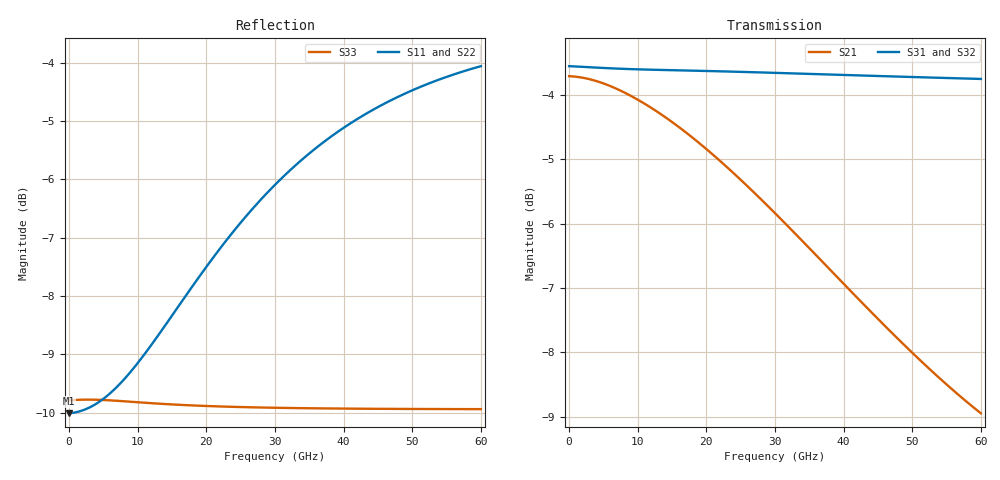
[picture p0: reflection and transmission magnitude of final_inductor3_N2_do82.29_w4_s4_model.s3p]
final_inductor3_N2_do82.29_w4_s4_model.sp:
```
* WIDEBAND RFIC CENTER-TAPPED INDUCTOR MODEL WITH SUBSTRATE NETWORK
* Created using inductor_fit.py 1.2 from final_inductor3_N2_do82.29_w4_s4.s3p
* Fit band 0.010 to 60.000 GHz, 2 coil segment(s) per half coil
* k is the effective coupling including the center tap lead inductance
* Total element values:
*   Rs_h1 = 0.720612
*   Ls_h1 = 1.50842e-10
*   Rskin1_h1 = 0.758223
*   Lskin1_h1 = 1.10383e-11
*   Rskin2_h1 = 7.63857
*   Lskin2_h1 = 1.07664e-11
*   Rs_h2 = 0.998512
*   Ls_h2 = 1.50842e-10
*   Rskin1_h2 = 1.13045
*   Lskin1_h2 = 1.10383e-11
*   Rskin2_h2 = 11.4561
*   Lskin2_h2 = 1.07664e-11
*   k = 0.414297
*   Cs = 4.84023e-15
*   Rct = 0.0957629
*   Cox1 = 6.47696e-15
*   Rsi1 = 526.49
*   Csi1 = 5.58014e-14
*   Cox2 = 7.1815e-15
*   Rsi2 = 561.325
*   Csi2 = 5.38498e-14
*   Coxct = 1.90625e-14
*   Rsict = 8355.23
*   Csict = 2.91883e-15
*
.SUBCKT ct_inductor_model p1 p2 ct
* half coil 1, segment 1
Rs_h1_1 p1 a_h1_1 0.360306
Ls_h1_1 a_h1_1 b_h1_1 7.5421e-11
Rskin1_h1_1 b_h1_1 d_h1_1 0.379111
Lskin1_h1_1 b_h1_1 d_h1_1 5.51915e-12
Rskin2_h1_1 d_h1_1 c1 3.81928
Lskin2_h1_1 d_h1_1 c1 5.38322e-12
* half coil 1, segment 2
Rs_h1_2 c1 a_h1_2 0.360306
Ls_h1_2 a_h1_2 b_h1_2 7.5421e-11
Rskin1_h1_2 b_h1_2 d_h1_2 0.379111
Lskin1_h1_2 b_h1_2 d_h1_2 5.51915e-12
Rskin2_h1_2 d_h1_2 m 3.81928
Lskin2_h1_2 d_h1_2 m 5.38322e-12
* half coil 2, segment 1
Rs_h2_1 m a_h2_1 0.499256
Ls_h2_1 a_h2_1 b_h2_1 7.5421e-11
Rskin1_h2_1 b_h2_1 d_h2_1 0.565224
Lskin1_h2_1 b_h2_1 d_h2_1 5.51915e-12
Rskin2_h2_1 d_h2_1 c3 5.72805
Lskin2_h2_1 d_h2_1 c3 5.38322e-12
* half coil 2, segment 2
Rs_h2_2 c3 a_h2_2 0.499256
Ls_h2_2 a_h2_2 b_h2_2 7.5421e-11
Rskin1_h2_2 b_h2_2 d_h2_2 0.565224
Lskin1_h2_2 b_h2_2 d_h2_2 5.51915e-12
Rskin2_h2_2 d_h2_2 p2 5.72805
Lskin2_h2_2 d_h2_2 p2 5.38322e-12
* magnetic coupling of the half coils (dot at the first node, aiding for differential current)
K_h1_1_h2_1 Ls_h1_1 Ls_h2_1 0.207148
K_h1_1_h2_2 Ls_h1_1 Ls_h2_2 0.207148
K_h1_2_h2_1 Ls_h1_2 Ls_h2_1 0.207148
K_h1_2_h2_2 Ls_h1_2 Ls_h2_2 0.207148
Cs p1 p2 4.84023e-15
Rct m ct 0.0957629
* substrate network at p1
Cox_n0 p1 s0 3.23848e-15
Rsi_n0 s0 0 1052.98
Csi_n0 s0 0 2.79007e-14
* substrate network at c1
Cox_n1 c1 s1 8.00411e-15
Rsi_n1 s1 0 1020.82
Csi_n1 s1 0 2.86304e-14
* substrate network at m
Cox_n2 m s2 9.53127e-15
Rsi_n2 s2 0 16710.5
Csi_n2 s2 0 1.45942e-15
* substrate network at c3
Cox_n3 c3 s3 8.35638e-15
Rsi_n3 s3 0 1086.16
Csi_n3 s3 0 2.76546e-14
* substrate network at p2
Cox_n4 p2 s4 3.59075e-15
Rsi_n4 s4 0 1122.65
Csi_n4 s4 0 2.69249e-14
.ENDS
```
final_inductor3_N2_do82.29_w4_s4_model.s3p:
!Center-tapped inductor model fitted by inductor_fit.py 1.2 from final_inductor3_N2_do82.29_w4_s4.s3p
! Created with skrf 2.1.0 (http://scikit-rf.org).
# GHz S RI R 50.0
!freq ReS11 ImS11 ReS12 ImS12 ReS13 ImS13
! ReS21 ImS21 ReS22 ImS22 ReS23 ImS23
! ReS31 ImS31 ReS32 ImS32 ReS33 ImS33
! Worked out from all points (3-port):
!   82 points, 10 MHz to 60 GHz, reference 50 ohm
!   strongest paths, dB at 10 MHz, 14.25 GHz, 30 GHz, 45 GHz, 60 GHz:
!     S31: -3.6, -3.6, -3.7, -3.7, -3.8
!     S32: -3.6, -3.7, -3.7, -3.7, -3.8
!     S21: -3.7, -4.4, -5.8, -7.5, -8.9
!   lowest |S11| = -10.0 dB at 10 MHz (marker M1), VSWR 1.92, Z = 26 + j0.0161 ohm
!   |S11| at or under -10 dB: start of sweep to 557.7 MHz
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0.01  -0.3159 0.000279  0.6521 -0.000293  0.6638 -5.38e-05
      0.6521 -0.000293  -0.3123 0.000277  0.6602 -5.26e-05
      0.6638 -5.38e-05  0.6602 -5.26e-05  -0.3241 3.77e-05
13.5  -0.1778 0.3268  0.5135 -0.3268  0.6569 -0.0571
      0.5135 -0.3268  -0.1735 0.3273  0.6535 -0.0582
      0.6569 -0.0571  0.6535 -0.0582  -0.3167 0.0575
25.5  0.0589 0.4601  0.2794 -0.4607  0.6486 -0.1049
      0.2794 -0.4607  0.0652 0.4583  0.6446 -0.1056
      0.6486 -0.1049  0.6446 -0.1056  -0.3029 0.1027
39.75  0.3251 0.4479  0.0181 -0.4511  0.6338 -0.1595
       0.0181 -0.4511  0.3316 0.4431  0.6304 -0.1607
       0.6338 -0.1595  0.6304 -0.1607  -0.2804 0.1519
60  0.5618 0.2771  -0.2108 -0.2882  0.6057 -0.2327
    -0.2108 -0.2882  0.568 0.2682  0.6014 -0.2358
    0.6057 -0.2327  0.6014 -0.2358  -0.2378 0.2119
